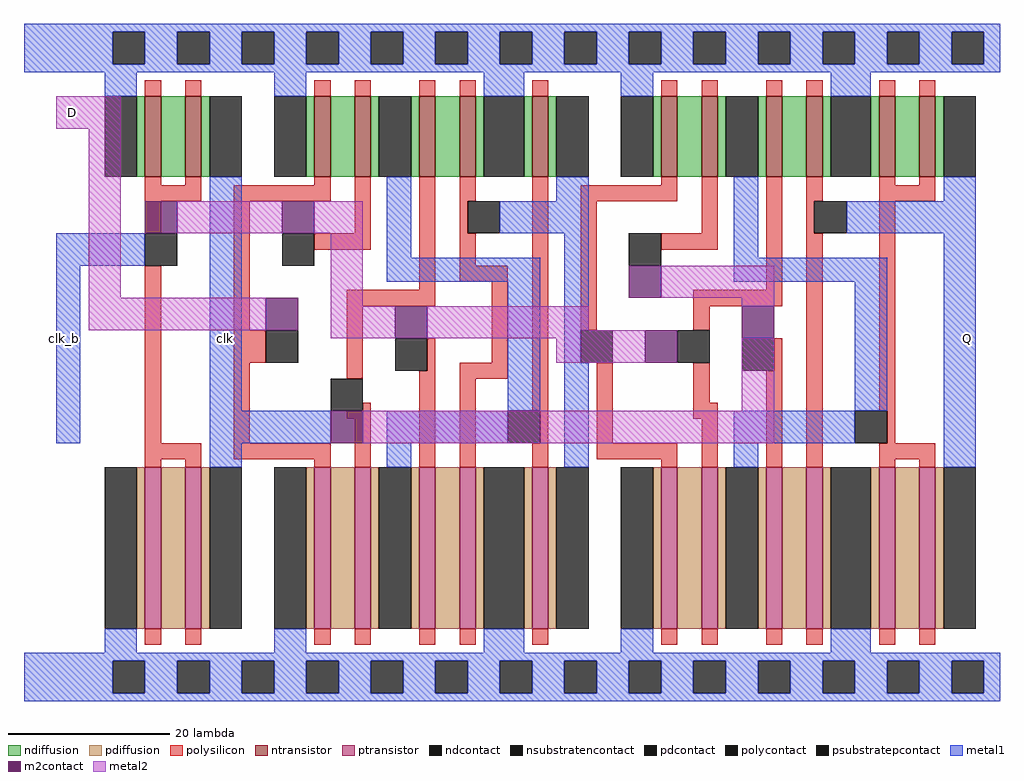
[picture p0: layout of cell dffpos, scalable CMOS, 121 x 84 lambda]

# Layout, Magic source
magic
tech scmos
<< ntransistor >>
rect 33 65 35 75
rect 38 65 40 75
rect 54 65 56 75
rect 59 65 61 75
rect 67 65 69 75
rect 72 65 74 75
rect 81 65 83 75
rect 97 65 99 75
rect 102 65 104 75
rect 110 65 112 75
rect 115 65 117 75
rect 124 65 126 75
rect 129 65 131 75
<< ptransistor >>
rect 33 9 35 29
rect 38 9 40 29
rect 54 9 56 29
rect 59 9 61 29
rect 67 9 69 29
rect 72 9 74 29
rect 81 9 83 29
rect 97 9 99 29
rect 102 9 104 29
rect 110 9 112 29
rect 115 9 117 29
rect 124 9 126 29
rect 129 9 131 29
<< ndiffusion >>
rect 32 65 33 75
rect 35 65 38 75
rect 40 65 41 75
rect 53 65 54 75
rect 56 65 59 75
rect 61 65 62 75
rect 66 65 67 75
rect 69 65 72 75
rect 74 65 75 75
rect 80 65 81 75
rect 83 65 84 75
rect 96 65 97 75
rect 99 65 102 75
rect 104 65 105 75
rect 109 65 110 75
rect 112 65 115 75
rect 117 65 118 75
rect 123 65 124 75
rect 126 65 129 75
rect 131 65 132 75
<< pdiffusion >>
rect 32 9 33 29
rect 35 9 38 29
rect 40 9 41 29
rect 53 9 54 29
rect 56 9 59 29
rect 61 9 62 29
rect 66 9 67 29
rect 69 9 72 29
rect 74 9 75 29
rect 80 9 81 29
rect 83 9 84 29
rect 96 9 97 29
rect 99 9 102 29
rect 104 9 105 29
rect 109 9 110 29
rect 112 9 115 29
rect 117 9 118 29
rect 123 9 124 29
rect 126 9 129 29
rect 131 9 132 29
<< ndcontact >>
rect 28 65 32 75
rect 41 65 45 75
rect 49 65 53 75
rect 62 65 66 75
rect 75 65 80 75
rect 84 65 88 75
rect 92 65 96 75
rect 105 65 109 75
rect 118 65 123 75
rect 132 65 136 75
<< pdcontact >>
rect 28 9 32 29
rect 41 9 45 29
rect 49 9 53 29
rect 62 9 66 29
rect 75 9 80 29
rect 84 9 88 29
rect 92 9 96 29
rect 105 9 109 29
rect 118 9 123 29
rect 132 9 136 29
<< psubstratepcontact >>
rect 29 79 33 83
rect 37 79 41 83
rect 45 79 49 83
rect 53 79 57 83
rect 61 79 65 83
rect 69 79 73 83
rect 77 79 81 83
rect 85 79 89 83
rect 93 79 97 83
rect 101 79 105 83
rect 109 79 113 83
rect 117 79 121 83
rect 125 79 129 83
rect 133 79 137 83
<< nsubstratencontact >>
rect 29 1 33 5
rect 37 1 41 5
rect 45 1 49 5
rect 53 1 57 5
rect 61 1 65 5
rect 69 1 73 5
rect 77 1 81 5
rect 85 1 89 5
rect 93 1 97 5
rect 101 1 105 5
rect 109 1 113 5
rect 117 1 121 5
rect 125 1 129 5
rect 133 1 137 5
<< polysilicon >>
rect 33 75 35 77
rect 38 75 40 77
rect 54 75 56 77
rect 59 75 61 77
rect 67 75 69 77
rect 72 75 74 77
rect 81 75 83 77
rect 97 75 99 77
rect 102 75 104 77
rect 110 75 112 77
rect 115 75 117 77
rect 124 75 126 77
rect 129 75 131 77
rect 33 64 35 65
rect 38 64 40 65
rect 54 64 56 65
rect 33 62 40 64
rect 44 62 56 64
rect 33 58 35 62
rect 33 32 35 54
rect 44 46 46 62
rect 59 58 61 65
rect 54 56 61 58
rect 67 51 69 65
rect 72 62 74 65
rect 72 58 73 62
rect 72 54 74 58
rect 72 52 78 54
rect 58 49 69 51
rect 44 42 48 46
rect 44 32 46 42
rect 58 40 60 49
rect 68 41 69 45
rect 76 42 78 52
rect 60 36 61 37
rect 58 35 61 36
rect 33 30 40 32
rect 44 30 56 32
rect 33 29 35 30
rect 38 29 40 30
rect 54 29 56 30
rect 59 29 61 35
rect 67 29 69 41
rect 72 40 78 42
rect 72 29 74 40
rect 81 36 83 65
rect 97 64 99 65
rect 87 62 99 64
rect 87 46 89 62
rect 102 58 104 65
rect 97 56 104 58
rect 110 51 112 65
rect 101 49 112 51
rect 115 62 117 65
rect 124 64 126 65
rect 129 64 131 65
rect 124 62 131 64
rect 115 58 116 62
rect 101 46 103 49
rect 82 32 83 36
rect 81 29 83 32
rect 89 32 91 42
rect 101 37 103 42
rect 111 41 112 45
rect 101 35 104 37
rect 89 30 99 32
rect 97 29 99 30
rect 102 29 104 35
rect 110 29 112 41
rect 115 29 117 58
rect 124 36 126 62
rect 125 32 126 36
rect 124 30 131 32
rect 124 29 126 30
rect 129 29 131 30
rect 33 7 35 9
rect 38 7 40 9
rect 54 7 56 9
rect 59 7 61 9
rect 67 7 69 9
rect 72 7 74 9
rect 81 7 83 9
rect 97 7 99 9
rect 102 7 104 9
rect 110 7 112 9
rect 115 7 117 9
rect 124 7 126 9
rect 129 7 131 9
<< polycontact >>
rect 33 54 37 58
rect 50 54 54 58
rect 73 58 77 62
rect 48 42 52 46
rect 64 41 68 45
rect 56 36 60 40
rect 93 54 97 58
rect 116 58 120 62
rect 87 42 91 46
rect 99 42 103 46
rect 78 32 82 36
rect 107 41 111 45
rect 121 32 125 36
<< metal1 >>
rect 18 83 139 84
rect 18 79 29 83
rect 33 79 37 83
rect 41 79 45 83
rect 49 79 53 83
rect 57 79 61 83
rect 65 79 69 83
rect 73 79 77 83
rect 81 79 85 83
rect 89 79 93 83
rect 97 79 101 83
rect 105 79 109 83
rect 113 79 117 83
rect 121 79 125 83
rect 129 79 133 83
rect 137 79 139 83
rect 18 78 139 79
rect 28 75 32 78
rect 49 75 53 78
rect 75 75 80 78
rect 92 75 96 78
rect 118 75 123 78
rect 22 54 33 58
rect 22 32 25 54
rect 41 36 45 65
rect 63 55 66 65
rect 84 62 88 65
rect 77 58 88 62
rect 63 52 82 55
rect 78 36 82 52
rect 41 32 56 36
rect 63 32 78 36
rect 85 46 88 58
rect 106 55 109 65
rect 132 62 136 65
rect 120 58 136 62
rect 106 52 125 55
rect 85 42 87 46
rect 41 29 45 32
rect 63 29 66 32
rect 85 29 88 42
rect 121 36 125 52
rect 106 32 121 36
rect 106 29 109 32
rect 132 29 136 58
rect 28 6 32 9
rect 49 6 53 9
rect 75 6 80 9
rect 92 6 96 9
rect 118 6 123 9
rect 18 5 139 6
rect 18 1 29 5
rect 33 1 37 5
rect 41 1 45 5
rect 49 1 53 5
rect 57 1 61 5
rect 65 1 69 5
rect 73 1 77 5
rect 81 1 85 5
rect 89 1 93 5
rect 97 1 101 5
rect 105 1 109 5
rect 113 1 117 5
rect 121 1 125 5
rect 129 1 133 5
rect 137 1 139 5
rect 18 0 139 1
<< m2contact >>
rect 33 58 37 62
rect 50 58 54 62
rect 48 46 52 50
rect 64 45 68 49
rect 56 32 60 36
rect 93 50 97 54
rect 95 42 99 46
rect 107 45 111 49
<< metal2 >>
rect 22 71 30 75
rect 26 50 30 71
rect 37 58 50 62
rect 54 58 60 62
rect 26 46 48 50
rect 56 49 60 58
rect 97 50 111 54
rect 107 49 111 50
rect 56 45 64 49
rect 68 46 88 49
rect 68 45 95 46
rect 84 42 95 45
rect 107 36 111 45
rect 60 32 111 36
<< labels >>
rlabel metal2 24 73 24 73 1 D
rlabel metal1 23 45 23 45 3 clk_b
rlabel metal1 43 45 43 45 1 clk
rlabel metal1 135 45 135 45 7 Q
<< end >>
